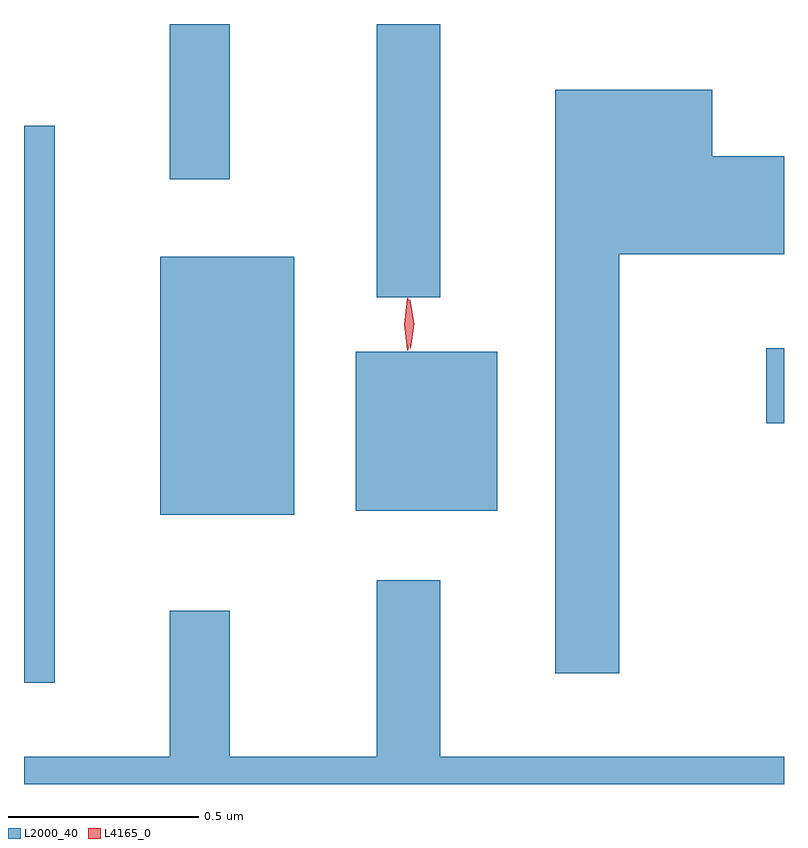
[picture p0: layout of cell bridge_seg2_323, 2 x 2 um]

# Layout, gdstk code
import gdstk
lib = gdstk.Library(unit=1e-6, precision=1e-09)
def R(c, l, rs):  # rectangles x0, y0, x1, y1
    for r in rs: c.add(gdstk.rectangle(r[:2], r[2:], *l))
def P(c, l, *ps):  # polygons
    for p in ps: c.add(gdstk.Polygon(p, *l))
L2000_40 = (2000, 40)
L4165_0 = (4165, 0)

bridge_seg2_323 = lib.new_cell('bridge_seg2_323')
R(bridge_seg2_323, L2000_40, [(444.933,1086.518,445.014,1087.984), (445.291,1086.961,445.644,1087.639), (445.806,1086.971,446.179,1087.389), (446.886,1087.201,446.933,1087.399), (445.861,1087.533,446.029,1088.252), (445.316,1087.843,445.474,1088.252)])
P(bridge_seg2_323, L2000_40, [(446.499,1087.646),(446.933,1087.646),(446.933,1087.904),(446.744,1087.904),(446.744,1088.079),(446.331,1088.079),(446.331,1086.543),(446.499,1086.543)],
  [(446.933,1086.324),(446.029,1086.324),(446.029,1086.788),(445.861,1086.788),(445.861,1086.324),(445.474,1086.324),(445.474,1086.708),(445.316,1086.708),(445.316,1086.324),(444.933,1086.324),(444.933,1086.252),(446.933,1086.252)])
P(bridge_seg2_323, L4165_0, [(445.942,1087.394),(445.933,1087.462),(445.942,1087.53),(445.943,1087.53),(445.944,1087.53),(445.953,1087.462),(445.944,1087.394),(445.943,1087.394)],
  [(445.951,1087.398),(445.95,1087.399),(445.94,1087.462),(445.948,1087.527),(445.948,1087.527),(445.949,1087.527),(445.96,1087.463),(445.951,1087.399)])

lib.write_gds('bridge_seg2_323.gds')
